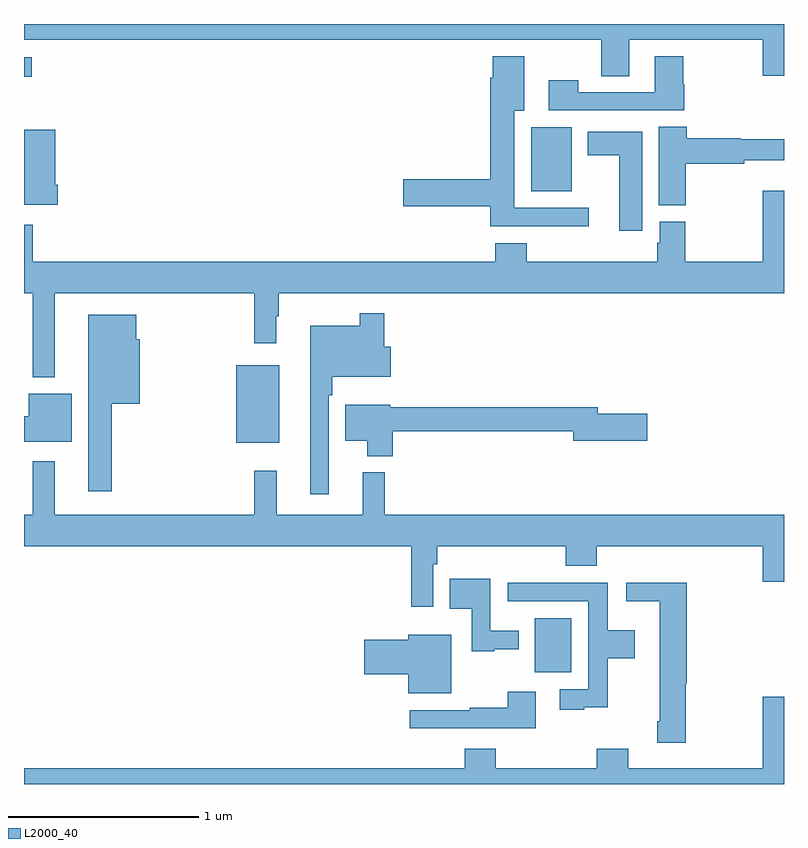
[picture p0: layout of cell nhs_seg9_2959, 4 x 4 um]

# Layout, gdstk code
import gdstk
lib = gdstk.Library(unit=1e-6, precision=1e-09)
def R(c, l, rs):  # rectangles x0, y0, x1, y1
    for r in rs: c.add(gdstk.rectangle(r[:2], r[2:], *l))
def P(c, l, *ps):  # polygons
    for p in ps: c.add(gdstk.Polygon(p, *l))
L2000_40 = (2000, 40)

nhs_seg9_2959 = lib.new_cell('nhs_seg9_2959')
R(nhs_seg9_2959, L2000_40, [(283.688,1197.089,283.879,1197.373), (282.116,1198.295,282.343,1198.705), (283.67,1199.621,283.882,1199.956), (281,1200.223,281.041,1200.324)])
P(nhs_seg9_2959, L2000_40, [(284.185,1200.416),(284.888,1200.416),(284.888,1200.228),(285,1200.228),(285,1200.5),(281,1200.5),(281,1200.416),(284.038,1200.416),(284.038,1200.226),(284.185,1200.226)],
  [(284.474,1200.183),(284.469,1200.183),(284.469,1200.331),(284.321,1200.331),(284.321,1200.141),(283.917,1200.141),(283.917,1200.205),(283.761,1200.205),(283.761,1200.045),(284.474,1200.045)],
  [(283.972,1199.532),(283.579,1199.532),(283.579,1200.044),(283.633,1200.044),(283.633,1200.331),(283.466,1200.331),(283.466,1200.218),(283.454,1200.218),(283.454,1199.684),(282.996,1199.684),(282.996,1199.542),(283.454,1199.542),(283.454,1199.435),(283.972,1199.435)],
  [(284.484,1199.764),(284.792,1199.764),(284.792,1199.783),(285,1199.783),(285,1199.893),(284.772,1199.893),(284.772,1199.9),(284.489,1199.9),(284.489,1199.96),(284.342,1199.96),(284.342,1199.545),(284.484,1199.545)],
  [(281.177,1199.653),(281.164,1199.653),(281.164,1199.944),(281,1199.944),(281,1199.549),(281.177,1199.549)],
  [(284.254,1199.932),(283.967,1199.932),(283.967,1199.81),(284.132,1199.81),(284.132,1199.412),(284.254,1199.412)],
  [(281.161,1199.084),(282.211,1199.084),(282.211,1198.821),(282.328,1198.821),(282.328,1198.961),(282.34,1198.961),(282.34,1199.084),(285,1199.084),(285,1199.623),(284.888,1199.623),(284.888,1199.248),(284.481,1199.248),(284.481,1199.46),(284.345,1199.46),(284.345,1199.349),(284.333,1199.349),(284.333,1199.248),(283.646,1199.248),(283.646,1199.347),(283.481,1199.347),(283.481,1199.248),(281.045,1199.248),(281.045,1199.443),(281,1199.443),(281,1199.084),(281.047,1199.084),(281.047,1198.64),(281.161,1198.64)],
  [(282.603,1198.547),(282.623,1198.547),(282.623,1198.643),(282.931,1198.643),(282.931,1198.801),(282.896,1198.801),(282.896,1198.978),(282.768,1198.978),(282.768,1198.912),(282.506,1198.912),(282.506,1198.026),(282.603,1198.026)],
  [(281.461,1198.502),(281.608,1198.502),(281.608,1198.842),(281.59,1198.842),(281.59,1198.969),(281.339,1198.969),(281.339,1198.041),(281.461,1198.041)],
  [(281.251,1198.555),(281.024,1198.555),(281.024,1198.436),(281,1198.436),(281,1198.301),(281.251,1198.301)],
  [(282.941,1198.356),(283.892,1198.356),(283.892,1198.306),(284.281,1198.306),(284.281,1198.448),(284.02,1198.448),(284.02,1198.484),(282.928,1198.484),(282.928,1198.495),(282.692,1198.495),(282.692,1198.307),(282.806,1198.307),(282.806,1198.226),(282.941,1198.226)],
  [(283.155,1197.656),(283.175,1197.656),(283.175,1197.752),(283.85,1197.752),(283.85,1197.65),(284.015,1197.65),(284.015,1197.752),(284.888,1197.752),(284.888,1197.564),(285,1197.564),(285,1197.916),(282.899,1197.916),(282.899,1198.141),(282.782,1198.141),(282.782,1197.916),(282.329,1197.916),(282.329,1198.15),(282.211,1198.15),(282.211,1197.916),(281.161,1197.916),(281.161,1198.198),(281.047,1198.198),(281.047,1197.916),(281,1197.916),(281,1197.752),(283.039,1197.752),(283.039,1197.432),(283.155,1197.432)],
  [(283.476,1197.208),(283.603,1197.208),(283.603,1197.307),(283.455,1197.307),(283.455,1197.58),(283.24,1197.58),(283.24,1197.422),(283.356,1197.422),(283.356,1197.198),(283.476,1197.198)],
  [(284.484,1197.03),(284.489,1197.03),(284.489,1197.56),(284.169,1197.56),(284.169,1197.461),(284.345,1197.461),(284.345,1196.83),(284.333,1196.83),(284.333,1196.718),(284.484,1196.718)],
  [(283.949,1196.903),(284.072,1196.903),(284.072,1197.163),(284.215,1197.163),(284.215,1197.31),(284.072,1197.31),(284.072,1197.558),(283.766,1197.558),(283.766,1197.56),(283.545,1197.56),(283.545,1197.462),(283.971,1197.462),(283.971,1197),(283.821,1197),(283.821,1196.892),(283.949,1196.892)],
  [(283.249,1197.286),(283.022,1197.286),(283.022,1197.26),(282.792,1197.26),(282.792,1197.077),(283.022,1197.077),(283.022,1196.978),(283.249,1196.978)],
  [(283.693,1196.986),(283.546,1196.986),(283.546,1196.902),(283.345,1196.902),(283.345,1196.889),(283.029,1196.889),(283.029,1196.793),(283.693,1196.793)],
  [(281,1196.5),(285,1196.5),(285,1196.959),(284.888,1196.959),(284.888,1196.584),(284.18,1196.584),(284.18,1196.686),(284.015,1196.686),(284.015,1196.584),(283.484,1196.584),(283.484,1196.686),(283.319,1196.686),(283.319,1196.584),(281,1196.584)])

lib.write_gds('nhs_seg9_2959.gds')
